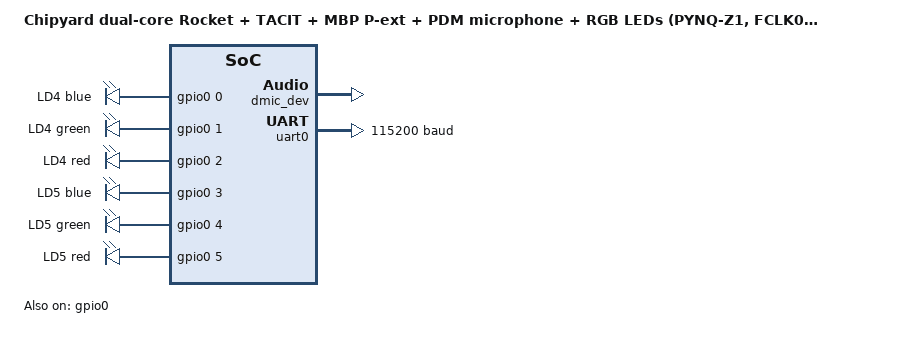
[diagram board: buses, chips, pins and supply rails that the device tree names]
/dts-v1/;

/*
 * chipyard_pynqz1_micrgb.dts, BYTE FOR BYTE, except for the `model` string.
 *
 * THE CLOCK IS NOT IN THE DEVICETREE.  dts/riscv/chipyard/chipyard-riscv64.dtsi carries no
 * clock-frequency, timebase-frequency or cpu-frequency property: on this port the PL's clock
 * reaches software through exactly one symbol, CONFIG_SYS_CLOCK_HW_CYCLES_PER_SEC, which is
 * why the whole of this board variant's difference lives in the defconfig and why copying
 * this file unchanged is correct rather than lazy.  If a clock property is ever added to the
 * shared dtsi, it has to be overridden HERE as well, and the defconfig says so too.
 *
 * chipyard_pynqz1_mic plus the board's two RGB LEDs on a stock sifive GPIO controller.
 *
 * THE CPU AND MICROPHONE HALVES OF THIS FILE ARE chipyard_pynqz1_mic.dts VERBATIM, and
 * must stay that way: the SoC is PynqZ2RocketBigLittlePextTacitMicRgbConfig, which is
 * PynqZ2RocketBigLittlePextTacitMicConfig plus one more peripheral on the periphery bus.
 * Read boards/chipyard/pynqz1_pext/chipyard_pynqz1_pext.dts for why each cpu/clint/plic
 * line is what it is, and boards/chipyard/pynqz1_mic for the microphone; none of that
 * reasoning changes here.
 *
 * WHAT IS NEW is the gpio0 node and the rgbleds node below.
 *
 * TRANSCRIBED FROM THE GENERATED DTS, which is ground truth and is emitted next to the
 * Verilog at
 *   generated-src/chipyard.harness.TestHarness.PynqZ2RocketBigLittlePextTacitMicRgbConfig/*.dts
 * It says, verbatim:
 *
 *     gpio@10010000 {
 *         compatible = "sifive,gpio0", "sifive,gpio1";
 *         reg = <0x10010000 0x1000>;   reg-names = "control";
 *         gpio-controller;  #gpio-cells = <2>;
 *         interrupt-controller;  #interrupt-cells = <2>;
 *         interrupt-parent = <&L22>;  interrupts = <2 3 4 5 6 7>;
 *     };
 *     interrupt-controller@c000000 { riscv,ndev = <7>; }
 *     serial@10020000 { interrupts = <1>; }
 *
 * THE UART DID NOT MOVE. sifive's GPIO declares one interrupt per pin, so the PLIC grew
 * from one source to seven -- but the six new ones were appended ABOVE the UART, which
 * keeps source 1. So the `interrupts = <1 1>` below is pynqz1_mic's line unchanged, and
 * the console could not have been disturbed by this. That was checked, not assumed; it
 * is the kind of thing that would otherwise present as a dead console on a board that
 * looks fine.
 *
 * riscv,ndev is left at the shared dtsi's 1024 rather than cut to 7. Zephyr's PLIC driver
 * sizes its tables from it and 1024 is what every other board here uses; the hardware
 * simply has fewer sources than the driver is prepared for, which is the harmless
 * direction.
 *
 * WHAT THE SIX PINS ARE. Bit order is the VENDOR'S -- Digilent's Arty-Z7-20-Master.xdc
 * (schematic net names Sch=LED4_B .. Sch=LED5_R) and, independently, Xilinx's PYNQ RGBLED
 * class (RGB_BLUE=1, RGB_GREEN=2, RGB_RED=4, three bits per LED, LD4 first) read against
 * PYNQ's own Pynq-Z1 base.xdc:
 *
 *     pin 0 -> L15  LD4 blue       pin 3 -> G14  LD5 blue
 *     pin 1 -> G17  LD4 green      pin 4 -> L14  LD5 green
 *     pin 2 -> N15  LD4 red        pin 5 -> M15  LD5 red
 *
 * ACTIVE HIGH. PYNQ-Z1 Reference Manual section 12.1: the FPGA drives the tri-colour
 * LED's cathodes through an INVERTING transistor, so "to light up the tri-color LED, the
 * corresponding signals need to be driven high".
 *
 * BRIGHTNESS IS NOT SOFTWARE'S PROBLEM HERE. The same section asks for no more than a 50%
 * duty cycle, and fpga/pynq-z2/src/pynqz2_rocket_top.v chops all six signals at a fixed
 * RGB_DUTY/256 = 12.5% in the PL. A pin written to 1 is on at 12.5% duty, always. See
 * fpga/pynq-z2/docs/RGB_LEDS.md section 2.
 */

#include <zephyr/dt-bindings/gpio/gpio.h>
#include <chipyard/chipyard-riscv64.dtsi>

/ {
	model = "Chipyard dual-core Rocket + TACIT + MBP P-ext + PDM microphone + RGB LEDs (PYNQ-Z1, FCLK0 41.6667 MHz)";
	compatible = "ucb-bar,chipyard-dev";

	chosen {
		zephyr,console = &uart0;
		zephyr,shell-uart = &uart0;
		zephyr,sram = &ram0;
	};

	soc {
		dmic_dev: pdm-mic@10090000 {
			compatible = "iiswc,pdm-mic";
			reg = <0x10090000 0x1000>;
			status = "okay";
		};

		gpio0: gpio@10010000 {
			compatible = "sifive,gpio0";
			reg = <0x10010000 0x1000>;
			reg-names = "control";
			interrupt-parent = <&plic>;
			/*
			 * One PLIC source per pin, <source priority>, in pin order. Nothing
			 * here uses them -- the LEDs are outputs -- but sifive,gpio0.yaml
			 * makes `interrupts` required and gpio_sifive.c IRQ_CONNECTs one per
			 * entry, so they have to be right rather than plausible. These six
			 * numbers are the generated DTS's `interrupts = <2 3 4 5 6 7>`.
			 */
			interrupts = <2 1>, <3 1>, <4 1>, <5 1>, <6 1>, <7 1>;
			gpio-controller;
			#gpio-cells = <2>;
			/*
			 * Six, not the binding's default 32. GPIO_PORT_PIN_MASK_FROM_DT_INST
			 * builds the driver's port_pin_mask from this, so a stray write to
			 * pin 6 comes back -EINVAL instead of reaching a register bit the
			 * hardware does not have.
			 */
			ngpios = <6>;
			status = "okay";
		};
	};

	/*
	 * gpio-leds, so an application gets a gpio_dt_spec per colour with the polarity
	 * attached, and never has to know a pin number. GPIO_ACTIVE_HIGH is the board's
	 * real polarity (section 12.1, above), so gpio_pin_set_dt(spec, 1) means "on".
	 */
	rgbleds: rgbleds {
		compatible = "gpio-leds";
		ld4_blue:  ld4_blue  { gpios = <&gpio0 0 GPIO_ACTIVE_HIGH>; label = "LD4 blue";  };
		ld4_green: ld4_green { gpios = <&gpio0 1 GPIO_ACTIVE_HIGH>; label = "LD4 green"; };
		ld4_red:   ld4_red   { gpios = <&gpio0 2 GPIO_ACTIVE_HIGH>; label = "LD4 red";   };
		ld5_blue:  ld5_blue  { gpios = <&gpio0 3 GPIO_ACTIVE_HIGH>; label = "LD5 blue";  };
		ld5_green: ld5_green { gpios = <&gpio0 4 GPIO_ACTIVE_HIGH>; label = "LD5 green"; };
		ld5_red:   ld5_red   { gpios = <&gpio0 5 GPIO_ACTIVE_HIGH>; label = "LD5 red";   };
	};

	aliases {
		led0 = &ld4_blue;
		led1 = &ld4_green;
		led2 = &ld4_red;
		led3 = &ld5_blue;
		led4 = &ld5_green;
		led5 = &ld5_red;
	};
};

&uart0 {
	status = "okay";
	current-speed = <115200>;
	/*
	 * PLIC source 1, still -- see the header. The GPIO's six sources are 2..7.
	 */
	interrupts = <1 1>;
};

/* HTIF is a simulator transport: it needs a host polling tohost/fromhost. On the FPGA the
 * console is a real UART, so leave it off. */
&htif {
	status = "disabled";
};

&flash0 {
	status = "disabled";
};
